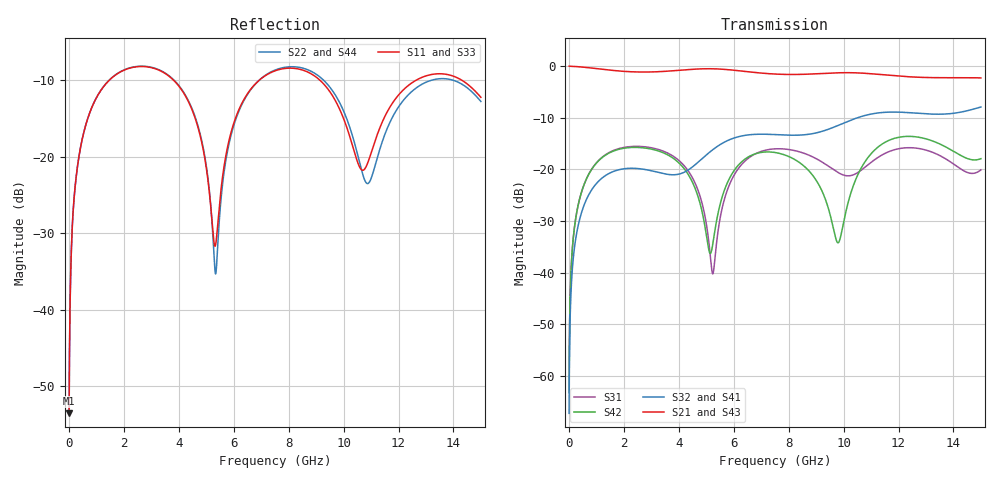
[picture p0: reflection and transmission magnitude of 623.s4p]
! Created with skrf 1.8.0 (http://scikit-rf.org).
# GHz S RI R 50.0
!freq ReS11 ImS11 ReS12 ImS12 ReS13 ImS13
! ReS14 ImS14
! ReS21 ImS21 ReS22 ImS22 ReS23 ImS23
! ReS24 ImS24
! ReS31 ImS31 ReS32 ImS32 ReS33 ImS33
! ReS34 ImS34
! ReS41 ImS41 ReS42 ImS42 ReS43 ImS43
! ReS44 ImS44
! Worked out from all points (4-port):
!   2499 points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, 5 MHz to 15 GHz, reference 50 ohm
!   strongest paths, dB at 5 MHz, 3.476 GHz, 7.19 GHz, 11.1 GHz, 15 GHz:
!     S21: 0.0, -1.0, -1.4, -1.5, -2.3
!     S43: 0.0, -1.0, -1.4, -1.5, -2.3
!     S32: -67.2, -20.9, -13.2, -9.2, -7.9
!     S41: -67.2, -21.0, -13.3, -9.2, -7.9
!     S42: -63.2, -16.9, -16.6, -16.4, -17.9
!     S31: -63.2, -16.6, -16.2, -18.3, -20.1
!   lowest |S11| = -53.5 dB at 5 MHz (marker M1), VSWR 1.00, Z = 50.2 + j0.128 ohm
!   |S11| at or under -10 dB: start of sweep to 1.468 GHz; 3.809 GHz to 6.928 GHz (3.119 GHz wide, 58.1 % of centre); 9.138 GHz to 12.64 GHz (3.504 GHz wide, 32.2 % of centre) (the widest 3 of 4)
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0.005  0.00168 0.00127  0.9983 -0.00327  8.52e-05 0.000686  -8.26e-05 -0.000427
       0.9983 -0.00327  0.00168 0.00127  -8.26e-05 -0.000427  8.51e-05 0.000686
       8.52e-05 0.000686  -8.26e-05 -0.000427  0.00168 0.00127  0.9983 -0.00327
       -8.26e-05 -0.000427  8.51e-05 0.000686  0.9983 -0.00327  0.00168 0.00127
0.3126303  0.025 0.0836  0.9658 -0.2032  0.0121 0.0406  -0.00981 -0.025
           0.9658 -0.2032  0.0251 0.0836  -0.00983 -0.025  0.0116 0.0407
           0.0121 0.0406  -0.00983 -0.025  0.025 0.0836  0.9658 -0.2032
           -0.00981 -0.025  0.0116 0.0407  0.9658 -0.2032  0.0251 0.0836
1.569404  0.2792 0.1732  0.5255 -0.7425  0.1393 0.0568  -0.0941 -0.00199
          0.5255 -0.7425  0.281 0.172  -0.0944 -0.00168  0.1337 0.0649
          0.1393 0.0568  -0.0944 -0.00168  0.2791 0.1734  0.5254 -0.7425
          -0.0941 -0.00199  0.1337 0.0649  0.5254 -0.7425  0.2812 0.1718
5.339725  0.0261 0.00521  -0.9377 -0.0688  -0.00512 0.0151  -0.00974 0.1623
          -0.9377 -0.0688  0.0171 -5.24e-05  -0.00452 0.1625  0.0197 0.0202
          -0.00512 0.0151  -0.00452 0.1625  0.028 0.00487  -0.9376 -0.0688
          -0.00974 0.1623  0.0197 0.0202  -0.9376 -0.0688  0.0155 -0.000484
8.247186  0.3768 -0.0187  -0.0117 0.8296  0.1024 -0.1116  0.2079 -0.0414
          -0.0117 0.8296  0.3859 -0.0223  0.2078 -0.0519  0.1037 -0.0669
          0.1024 -0.1116  0.2078 -0.0519  0.3761 -0.0178  -0.0112 0.8293
          0.2079 -0.0414  0.1037 -0.0669  -0.0112 0.8293  0.3876 -0.0232
11.07336  0.0994 0.0595  0.8388 -0.048  -0.00109 0.1209  -0.0256 -0.3449
          0.8388 -0.048  0.0739 0.0271  -0.0453 -0.343  0.0758 0.1279
          -0.00109 0.1209  -0.0453 -0.343  0.1019 0.0546  0.8388 -0.0484
          -0.0256 -0.3449  0.0758 0.1279  0.8388 -0.0484  0.073 0.0284
15  0.2241 -0.0978  -0.4928 -0.5888  -0.0985 -0.00932  -0.3276 0.2362
    -0.4928 -0.5888  0.2149 -0.0808  -0.3049 0.2617  -0.1216 -0.0365
    -0.0985 -0.00932  -0.3049 0.2617  0.2283 -0.0959  -0.4949 -0.5873
    -0.3276 0.2362  -0.1216 -0.0365  -0.4949 -0.5873  0.2067 -0.0833
